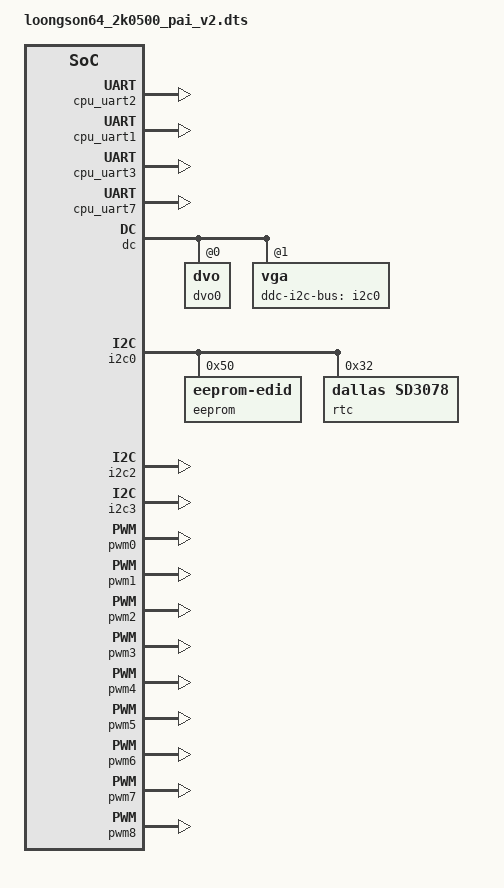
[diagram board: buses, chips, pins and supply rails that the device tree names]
#include "loongson64_2k0500.dtsi"


&cpu_uart2{
	status = "okay";
};

&cpu_uart1{
    	status = "okay";
};

&cpu_uart3{
    	status = "okay";
};

&cpu_uart7{
    	status = "okay";
};

&dc{
	dvo0: dvo@0 {
                status = "okay";
	};

        vga: vga@1 {
                ddc-i2c-bus = <&i2c0>;
                status = "okay";
            };
};

&i2c0{
	status = "okay";
	eeprom@50{
		compatible = "eeprom-edid";
		reg = <0x50>;
	};

	rtc@32{
		compatible = "dallas,sd3078";
		reg = <0x32>;
	};
};

&i2c2{
	status = "okay";
};

&i2c3{
	status = "okay";
};

&pwm0{
	status = "okay";
};

&pwm1{
	status = "okay";
};

&pwm2{
	status = "okay";
};

&pwm3{
	status = "okay";
};

&pwm4{
	status = "okay";
};

&pwm5{
	status = "okay";
};

&pwm6{
	status = "okay";
};

&pwm7{
	status = "okay";
};

&pwm8{
	status = "okay";
};

